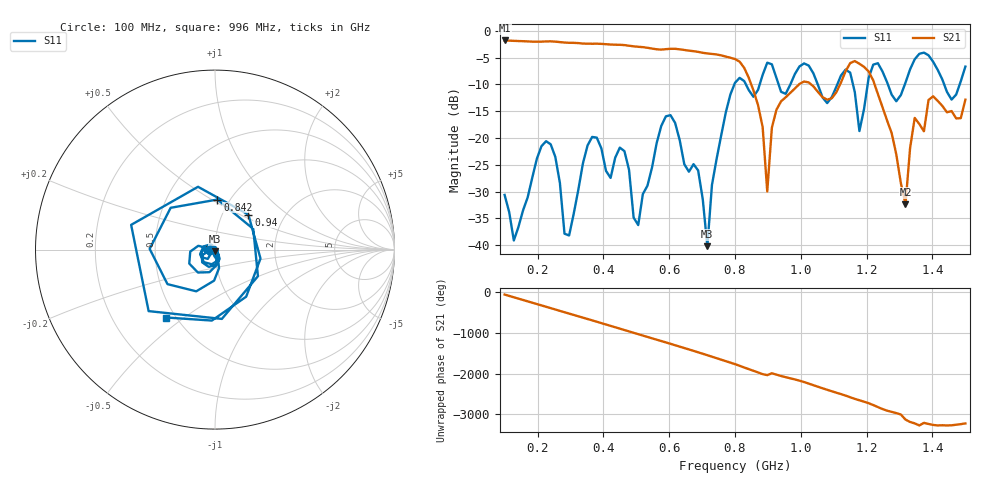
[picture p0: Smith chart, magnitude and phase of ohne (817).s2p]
! NanoVNA-App
! Date: 2025-09-25 14:27:09
! Start: 100MHz Stop: 1,5GHz Points: 101
! S-Parameter data: F S11 S21 S12 S22
# Hz S RI R 50
!  Frequency  S11_Real  S11_Imag  S21_Real  S21_Imag  S12_Real  S12_Imag  S22_Real  S22_Imag
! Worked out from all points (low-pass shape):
!   101 points, 100 MHz to 1.5 GHz, reference 50 ohm
!   highest |S21| = -1.79 dB at 100 MHz (marker M1); lowest = -32.4 dB at 1.318 GHz (marker M2)
!   |S21| within 3 dB of the highest: start of sweep to 771.3 MHz
!   lowest |S11| = -40.2 dB at 716 MHz (marker M3), VSWR 1.02, Z = 49.8 - j0.944 ohm
!   |S11| at or under -10 dB: start of sweep to 798.1 MHz; 833.1 MHz to 875.1 MHz (41.98 MHz wide, 4.92 % of centre); 1.051 GHz to 1.111 GHz (59.42 MHz wide, 5.5 % of centre) (the widest 3 of 7)
!   S12 and S22 are empty: the file has one direction only
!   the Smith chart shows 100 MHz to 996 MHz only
!   S11 on the Smith chart (normalised r, x): 100 MHz: 0.94, -0.01; 842 MHz: 0.88, +0.53; 940 MHz: 1.32, +0.56; 996 MHz: 0.44, -0.43
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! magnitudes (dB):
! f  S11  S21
! 100 MHz  -30.6  -1.8
! 128 MHz  -39.1  -1.9
! 226 MHz  -20.6  -2.0
! 296 MHz  -38.2  -2.2
! 338 MHz  -24.7  -2.4
! 464 MHz  -22.5  -2.7
! 506 MHz  -36.3  -3.0
! 576 MHz  -17.7  -3.5
! 688 MHz  -26.1  -3.9
! 716 MHz  -40.2  -4.2
! 800 MHz  -9.7  -5.3
! 842 MHz  -11.1  -8.8
! 898 MHz  -5.9  -30.0
! 940 MHz  -11.4  -13.2
! 996 MHz  -6.6  -9.9
! 1.038 GHz  -7.9  -10.3
! 1.178 GHz  -18.7  -6.1
! 1.22 GHz  -6.3  -9.3
! 1.276 GHz  -11.9  -19.1
! 1.318 GHz  -9.7  -32.4
! 1.346 GHz  -5.3  -16.3
! 1.5 GHz  -6.7  -12.9
